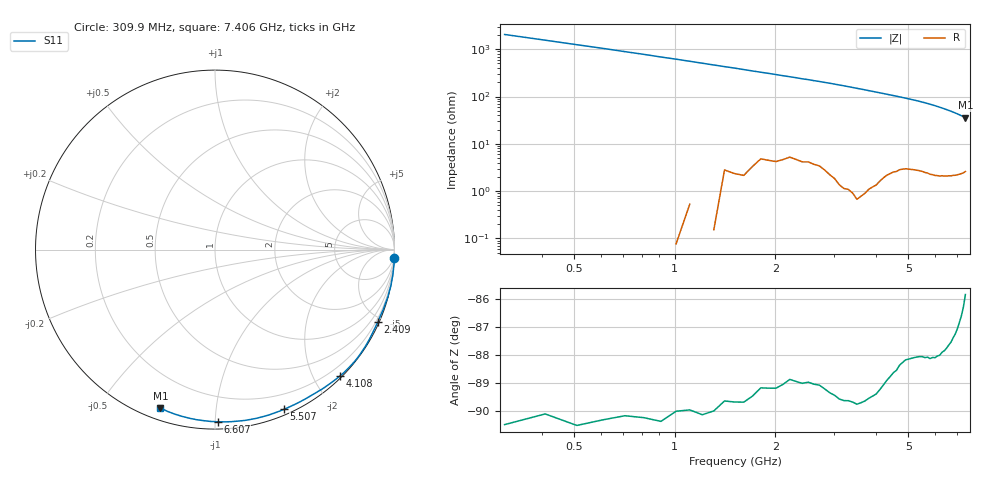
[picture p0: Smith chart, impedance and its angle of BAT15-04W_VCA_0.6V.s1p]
! Infineon Technologies  Discrete & RF Semiconductors
! BAT15-04W-E6327
! VCA = 0.6 V
! One-Port S-Parameters
# Hz  S  MA  R  50
!f  S11
!Hz  Mag  Ang
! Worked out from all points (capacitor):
!   72 points, 309.9 MHz to 7.406 GHz, reference 50 ohm
!   read as one part to ground: C = 250 fF near 309.9 MHz
!   lowest |Z| = 35.7 ohm at 7.406 GHz (marker M1)
!   S11 on the Smith chart (normalised r, x): 309.9 MHz: -0, -41; 2.409 GHz: 0.08, -4.74; 4.108 GHz: 0.03, -2.40; 5.507 GHz: 0.05, -1.52; 6.607 GHz: 0.04, -1.02; 7.406 GHz: 0.05, -0.71
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3.0985e8  1 -2.8
9.0955e8  1.001 -8.4
1.2094e9  1 -11.3
1.6092e9  0.9985 -15.3
2.10895e9  0.9941 -20.6
2.30885e9  0.9928 -22.6
2.4088e9  0.9929 -23.8
2.70865e9  0.9926 -27.0
3.0085e9  0.9949 -30.6
3.2084e9  0.9963 -33.1
3.50825e9  0.9973 -37.1
3.90805e9  0.9936 -42.5
4.10795e9  0.9904 -45.3
4.6077e9  0.9799 -52.4
4.8076e9  0.9752 -55.4
5.2074e9  0.9709 -61.5
5.4073e9  0.9695 -64.8
5.50725e9  0.9691 -66.6
5.6072e9  0.9693 -68.2
5.70715e9  0.9687 -70.1
6.007e9  0.968 -76.0
6.2069e9  0.9661 -80.2
6.4068e9  0.963 -84.6
6.6067e9  0.9594 -89.1
6.8066e9  0.9552 -93.8
7.0065e9  0.9503 -98.6
7.2064e9  0.9436 -103.7
7.4063e9  0.9334 -109.0
